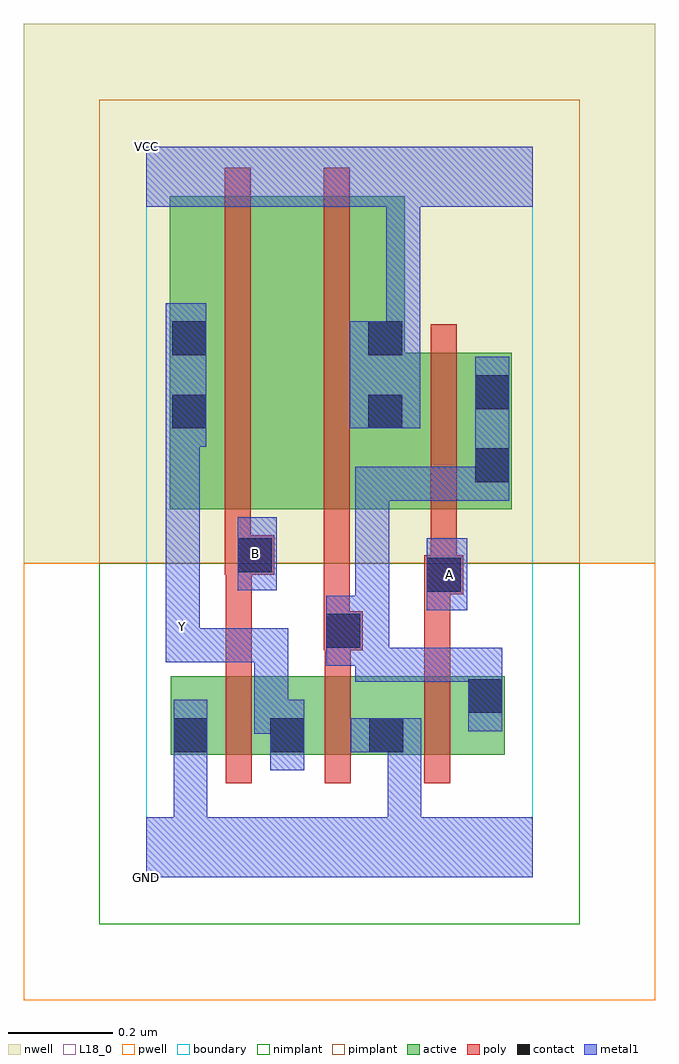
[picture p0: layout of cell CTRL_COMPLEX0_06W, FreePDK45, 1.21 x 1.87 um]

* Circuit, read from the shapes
.subckt CTRL_COMPLEX0_06W A B GND VCC Y
M1 Y B GND VSUBS nfet w=0.15u l=0.05u
M2 GND n1 Y VSUBS nfet w=0.15u l=0.05u
M3 n1 A GND VSUBS nfet w=0.15u l=0.05u
M4 n2 B Y n3 pfet w=0.6u l=0.05u
M5 VCC n1 n2 n3 pfet w=0.6u l=0.05u
M6 n1 A VCC n3 pfet w=0.3u l=0.05u
.ends

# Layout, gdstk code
import gdstk
lib = gdstk.Library(unit=1e-6, precision=1e-09)
def R(c, l, rs):  # rectangles x0, y0, x1, y1
    for r in rs: c.add(gdstk.rectangle(r[:2], r[2:], *l))
def A(c, l, x, y, w, h, nx, ny, dx, dy):  # array of equal rectangles
    R(c, l, [(x+i*dx, y+j*dy, x+i*dx+w, y+j*dy+h) for i in range(nx) for j in range(ny)])
active = (1, 0)
pwell = (2, 0)
nwell = (3, 0)
nimplant = (4, 0)
pimplant = (5, 0)
poly = (9, 0)
contact = (10, 0)
metal1 = (11, 0)
L18_0 = (18, 0)
boundary = (235, 0)

ctrl_complex0_06w = lib.new_cell('CTRL_COMPLEX0_06W')
R(ctrl_complex0_06w, active, [(0.047,0.235,0.122,0.385), (0.047,0.235,0.307,0.385), (0.232,0.235,0.307,0.385), (0.232,0.235,0.497,0.385), (0.422,0.235,0.687,0.385), (0.422,0.235,0.497,0.31), (0.612,0.235,0.687,0.385), (0.045,0.705,0.27,1.305), (0.045,0.705,0.15,1.2), (0.27,0.705,0.495,1.305), (0.42,0.705,0.7,1.005), (0.42,0.705,0.495,1.305), (0.625,0.705,0.7,0.967)])
R(ctrl_complex0_06w, pwell, [(-0.235,-0.235,0.975,0.602)])
R(ctrl_complex0_06w, nwell, [(-0.235,0.602,0.975,1.635)])
R(ctrl_complex0_06w, nimplant, [(-0.09,-0.09,0.83,0.602)])
R(ctrl_complex0_06w, pimplant, [(-0.09,0.602,0.83,1.49)])
A(ctrl_complex0_06w, poly, 0.152, 0.18, 0.05, 0.26, 3, 1, 0.19, 0)
R(ctrl_complex0_06w, poly, [(0.152,0.39,0.202,0.63), (0.342,0.39,0.392,0.485), (0.532,0.39,0.582,0.592), (0.34,0.435,0.415,0.51), (0.34,0.46,0.39,0.7), (0.532,0.542,0.607,0.617), (0.545,0.567,0.595,0.7), (0.15,0.58,0.245,0.655), (0.15,0.605,0.2,0.7), (0.15,0.65,0.2,1.36), (0.34,0.65,0.39,1.36), (0.545,0.65,0.595,1.06)])
R(ctrl_complex0_06w, contact, [(0.052,0.24,0.117,0.305), (0.237,0.24,0.302,0.305), (0.427,0.24,0.492,0.305), (0.617,0.315,0.682,0.38), (0.345,0.44,0.41,0.505), (0.537,0.547,0.602,0.612), (0.175,0.585,0.24,0.65), (0.63,0.757,0.695,0.822), (0.05,0.86,0.115,0.925), (0.425,0.86,0.49,0.925), (0.63,0.897,0.695,0.962), (0.05,1,0.115,1.065), (0.425,1,0.49,1.065)])
R(ctrl_complex0_06w, metal1, [(0,0,0.74,0.115), (0.052,0.05,0.117,0.115), (0.052,0.05,0.117,0.115), (0.052,0.05,0.117,0.115), (0.052,0.05,0.117,0.115), (0.052,0.05,0.117,0.27), (0.462,0.05,0.527,0.115), (0.462,0.05,0.527,0.115), (0.462,0.05,0.527,0.115), (0.462,0.05,0.527,0.115), (0.462,0.05,0.527,0.305), (0.052,0.205,0.117,0.34), (0.237,0.205,0.302,0.34), (0.392,0.24,0.527,0.305), (0.207,0.275,0.302,0.34), (0.207,0.275,0.272,0.477), (0.617,0.28,0.682,0.415), (0.617,0.35,0.682,0.415), (0.617,0.35,0.682,0.44), (0.4,0.375,0.465,0.44), (0.4,0.375,0.682,0.44), (0.4,0.375,0.465,0.54), (0.345,0.405,0.41,0.54), (0.037,0.412,0.102,0.477), (0.037,0.412,0.102,0.477), (0.037,0.412,0.102,0.547), (0.037,0.412,0.272,0.477), (0.345,0.475,0.465,0.54), (0.4,0.475,0.465,0.54), (0.4,0.475,0.465,0.787), (0.037,0.482,0.102,0.89), (0.537,0.512,0.615,0.65), (0.175,0.55,0.25,0.69), (0.4,0.722,0.465,0.787), (0.4,0.722,0.695,0.787), (0.63,0.722,0.695,0.787), (0.63,0.722,0.695,0.787), (0.63,0.722,0.695,0.997), (0.037,0.825,0.115,1.1), (0.39,0.86,0.525,1.065), (0.46,1,0.525,1.35), (0,1.285,0.74,1.4)])
R(ctrl_complex0_06w, L18_0, [(0,0,0.74,0.115), (0.052,0.05,0.117,0.115), (0.052,0.05,0.117,0.115), (0.052,0.05,0.117,0.115), (0.052,0.05,0.117,0.115), (0.052,0.05,0.117,0.27), (0.462,0.05,0.527,0.115), (0.462,0.05,0.527,0.115), (0.462,0.05,0.527,0.115), (0.462,0.05,0.527,0.115), (0.462,0.05,0.527,0.305), (0.052,0.205,0.117,0.34), (0.237,0.205,0.302,0.34), (0.392,0.24,0.527,0.305), (0.207,0.275,0.272,0.477), (0.207,0.275,0.302,0.34), (0.037,0.412,0.102,0.477), (0.037,0.412,0.102,0.477), (0.037,0.412,0.102,0.547), (0.037,0.412,0.272,0.477), (0.037,0.447,0.102,0.512), (0.037,0.482,0.102,0.89), (0.537,0.512,0.615,0.65), (0.547,0.547,0.612,0.612), (0.175,0.55,0.25,0.69), (0.177,0.587,0.242,0.652), (0.037,0.825,0.115,1.1), (0.39,0.86,0.525,1.065), (0.46,1,0.525,1.35), (0,1.285,0.74,1.4)])
R(ctrl_complex0_06w, boundary, [(0,0,0.74,1.4)])
ctrl_complex0_06w.add(gdstk.Label('A', (0.58,0.58), layer=11, texttype=0))
ctrl_complex0_06w.add(gdstk.Label('B', (0.21,0.62), layer=11, texttype=0))
ctrl_complex0_06w.add(gdstk.Label('Y', (0.07,0.48), layer=11, texttype=0))
ctrl_complex0_06w.add(gdstk.Label('VCC', (0,1.4), layer=11, texttype=0))
ctrl_complex0_06w.add(gdstk.Label('GND', (0,0), layer=11, texttype=0))

lib.write_gds('CTRL_COMPLEX0_06W.gds')
